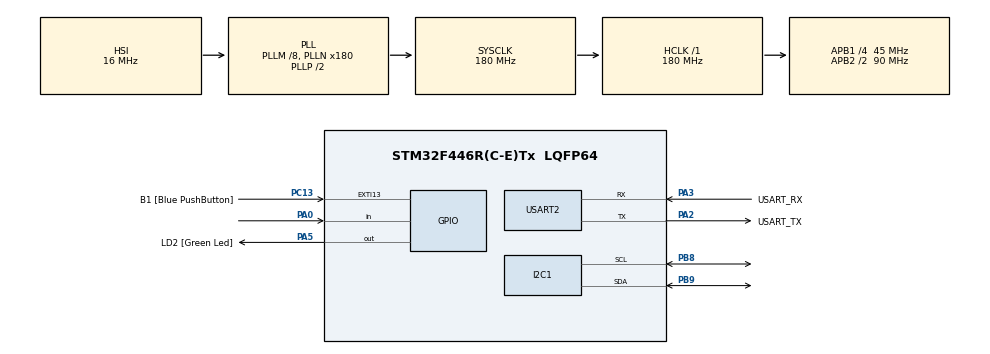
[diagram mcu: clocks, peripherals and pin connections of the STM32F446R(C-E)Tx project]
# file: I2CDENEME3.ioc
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Mcu.Family=STM32F4
Mcu.Name=STM32F446R(C-E)Tx
Mcu.Package=LQFP64
NVIC.PriorityGroup=NVIC_PRIORITYGROUP_0
PA0-WKUP.Signal=GPIO_Input
PA13.GPIO_Label=TMS
PA13.Mode=Serial_Wire
PA13.Signal=SYS_JTMS-SWDIO
PA14.GPIO_Label=TCK
PA14.Mode=Serial_Wire
PA14.Signal=SYS_JTCK-SWCLK
PA2.GPIO_Label=USART_TX
PA2.Mode=Asynchronous
PA2.Signal=USART2_TX
PA3.GPIO_Label=USART_RX
PA3.Mode=Asynchronous
PA3.Signal=USART2_RX
PA5.GPIO_Label=LD2 [Green Led]
PA5.Signal=GPIO_Output
PB3.GPIO_Label=SWO
PB3.Signal=SYS_JTDO-SWO
PB8.Mode=I2C
PB8.Signal=I2C1_SCL
PB9.Mode=I2C
PB9.Signal=I2C1_SDA
PC13.GPIO_Label=B1 [Blue PushButton]
PC13.GPIO_ModeDefaultEXTI=GPIO_MODE_IT_FALLING
PC13.Signal=GPXTI13
PC14-OSC32_IN.Mode=LSE-External-Oscillator
PC14-OSC32_IN.Signal=RCC_OSC32_IN
PC15-OSC32_OUT.Mode=LSE-External-Oscillator
PC15-OSC32_OUT.Signal=RCC_OSC32_OUT
PH0-OSC_IN.Mode=HSE-External-Oscillator
PH0-OSC_IN.Signal=RCC_OSC_IN
PH1-OSC_OUT.Mode=HSE-External-Oscillator
PH1-OSC_OUT.Signal=RCC_OSC_OUT
ProjectManager.HeapSize=0x200
ProjectManager.StackSize=0x400
ProjectManager.TargetToolchain=STM32CubeIDE
RCC.48MHZClocksFreq_Value=84000000
RCC.AHBFreq_Value=180000000
RCC.APB1CLKDivider=RCC_HCLK_DIV4
RCC.APB1Freq_Value=45000000
RCC.APB1TimFreq_Value=90000000
RCC.APB2CLKDivider=RCC_HCLK_DIV2
RCC.APB2Freq_Value=90000000
RCC.APB2TimFreq_Value=180000000
RCC.CortexFreq_Value=180000000
RCC.FLatency-AdvancedSettings=FLASH_LATENCY_5
RCC.HCLKFreq_Value=180000000
RCC.HSE_VALUE=8000000
RCC.HSI_VALUE=16000000
RCC.PLLM=8
RCC.PLLN=180
RCC.SYSCLKFreq_VALUE=180000000
RCC.SYSCLKSource=RCC_SYSCLKSOURCE_PLLCLK
RCC.USBFreq_Value=180000000
RCC.VCOOutputFreq_Value=360000000
USART2.VirtualMode=VM_ASYNC
board=NUCLEO-F446RE

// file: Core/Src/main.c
/* USER CODE BEGIN Header */
/**
  ******************************************************************************
  * @file           : main.c
  * @brief          : Main program body
  ******************************************************************************
  * @attention
  *
  * Copyright (c) 2026 STMicroelectronics.
  * All rights reserved.
  *
  * This software is licensed under terms that can be found in the LICENSE file
  * in the root directory of this software component.
  * If no LICENSE file comes with this software, it is provided AS-IS.
  *
  ******************************************************************************
  */
/* USER CODE END Header */
#include "main.h"
#include "i2c.h"
#include "usart.h"
#include "gpio.h"

/* USER CODE BEGIN Includes */
#include "tf02_continuous_fast.h"
#include <stdarg.h>
#include <stdio.h>
#include <string.h>
#include <stdint.h>
/* USER CODE END Includes */

/* USER CODE BEGIN PD */
#define TFMINI_ADDR_7BIT          0x10u
#define TFMINI_FRAME_LEN          9u
#define TFMINI_I2C_TIMEOUT_MS     5u
/* USER CODE END PD */

void SystemClock_Config(void);
/* USER CODE BEGIN PFP */
static void UART_Printf(const char *fmt, ...);
static uint8_t TF_Checksum8(const uint8_t *data, uint8_t len);
static int TF_ReadFrameCm(uint8_t frame[TFMINI_FRAME_LEN]);
static void Run_TFMini_I2C_MaxRate_Test_1s(void);
/* USER CODE END PFP */

/* USER CODE BEGIN 0 */
static const uint8_t TF_CMD_SET_1000HZ[6] = {0x5A, 0x06, 0x03, 0xE8, 0x03, 0x4E};
static const uint8_t TF_CMD_GET_FRAME_CM[5] = {0x5A, 0x05, 0x00, 0x01, 0x60};

static void UART_Printf(const char *fmt, ...)
{
  char buffer[256];
  va_list args;
  va_start(args, fmt);
  vsnprintf(buffer, sizeof(buffer), fmt, args);
  va_end(args);
  HAL_UART_Transmit(&huart2, (uint8_t *)buffer, (uint16_t)strlen(buffer), HAL_MAX_DELAY);
}

static uint8_t TF_Checksum8(const uint8_t *data, uint8_t len)
{
  uint16_t sum = 0;
  for (uint8_t i = 0; i < len; i++) {
    sum += data[i];
  }
  return (uint8_t)(sum & 0xFFu);
}

static int TF_ReadFrameCm(uint8_t frame[TFMINI_FRAME_LEN])
{
  const uint16_t addr = (TFMINI_ADDR_7BIT << 1);

  if (HAL_I2C_Master_Transmit(&hi2c1, addr, (uint8_t *)TF_CMD_GET_FRAME_CM, sizeof(TF_CMD_GET_FRAME_CM), TFMINI_I2C_TIMEOUT_MS) != HAL_OK) {
    return -1;
  }

  if (HAL_I2C_Master_Receive(&hi2c1, addr, frame, TFMINI_FRAME_LEN, TFMINI_I2C_TIMEOUT_MS) != HAL_OK) {
    return -2;
  }

  if ((frame[0] != 0x59u) || (frame[1] != 0x59u)) {
    return -3;
  }

  if (TF_Checksum8(frame, 8) != frame[8]) {
    return -4;
  }

  return 0;
}

static void Run_TFMini_I2C_MaxRate_Test_1s(void)
{
  const uint16_t addr = (TFMINI_ADDR_7BIT << 1);
  uint8_t frame[TFMINI_FRAME_LEN];
  uint32_t t0 = 0;
  uint32_t ok_count = 0;
  uint32_t err_count = 0;
  uint16_t last_distance_cm = 0;
  uint16_t min_distance_cm = 0xFFFFu;
  uint16_t max_distance_cm = 0;
  uint16_t last_strength = 0;
  uint16_t min_strength = 0xFFFFu;
  uint16_t max_strength = 0;

  UART_Printf("\r\n=== TFmini Plus I2C hiz testi (1 saniye) ===\r\n");

  if (HAL_I2C_IsDeviceReady(&hi2c1, addr, 3, 100) != HAL_OK) {
    UART_Printf("Sensor bulunamadi (0x10). Kablolamayi kontrol et.\r\n");
    return;
  }

  if (HAL_I2C_Master_Transmit(&hi2c1, addr, (uint8_t *)TF_CMD_SET_1000HZ, sizeof(TF_CMD_SET_1000HZ), 50) == HAL_OK) {
    HAL_Delay(120);
    UART_Printf("Frame rate 1000Hz komutu gonderildi.\r\n");
  } else {
    UART_Printf("1000Hz komutu gonderilemedi, mevcut ayarla devam.\r\n");
  }

  t0 = HAL_GetTick();
  while ((HAL_GetTick() - t0) < 1000u) {
    if (TF_ReadFrameCm(frame) == 0) {
      uint16_t distance = (uint16_t)frame[2] | ((uint16_t)frame[3] << 8);
      uint16_t strength = (uint16_t)frame[4] | ((uint16_t)frame[5] << 8);
      ok_count++;
      last_distance_cm = distance;
      last_strength = strength;
      if (distance < min_distance_cm) {
        min_distance_cm = distance;
      }
      if (distance > max_distance_cm) {
        max_distance_cm = distance;
      }
      if (strength < min_strength) {
        min_strength = strength;
      }
      if (strength > max_strength) {
        max_strength = strength;
      }
    } else {
      err_count++;
    }
  }

  UART_Printf("=== TEST BITTI ===\r\n");
  UART_Printf("1 saniyede basarili olcum: %lu\r\n", (unsigned long)ok_count);
  UART_Printf("1 saniyede hata: %lu\r\n", (unsigned long)err_count);
  UART_Printf("Son mesafe: %u cm\r\n", last_distance_cm);
  if (ok_count > 0u) {
    UART_Printf("Min/Max mesafe: %u / %u cm\r\n", min_distance_cm, max_distance_cm);
    UART_Printf("Sinyal gucu (Strength): min=%u max=%u son=%u\r\n", min_strength, max_strength, last_strength);
    if (last_distance_cm == 0u && max_strength < 100u) {
      UART_Printf("(Strength<100 -> sensor mesafe=0 yapar. Hedefi 20cm-2m arasi, beyaz yuzey dene.)\r\n");
    } else if (last_distance_cm == 0u && min_strength == 65535u) {
      UART_Printf("(Asiri aydinlik/overexposed -> mesafe 0. Irigi azalt.)\r\n");
    }
  }
}
/* USER CODE END 0 */

int main(void)
{

  /* MCU Configuration--------------------------------------------------------*/

  /* Reset of all peripherals, Initializes the Flash interface and the Systick. */
  HAL_Init();

  /* Configure the system clock */
  SystemClock_Config();

  /* Initialize all configured peripherals */
  MX_GPIO_Init();
  MX_USART2_UART_Init();

  TF02_I2C1_BusRecover();  /* I2C oncesi bus recovery */
  MX_I2C1_Init();

  /* USER CODE BEGIN 2 */
  TF02_Run_Continuous_Fast();  /* sonsuz dongu burada, geri donmez */
  /* USER CODE END 2 */

  /* Infinite loop */
  while (1)
  {

  }
}

void SystemClock_Config(void)
{
  RCC_OscInitTypeDef RCC_OscInitStruct = {0};
  RCC_ClkInitTypeDef RCC_ClkInitStruct = {0};

  /** Configure the main internal regulator output voltage
  */
  __HAL_RCC_PWR_CLK_ENABLE();
  __HAL_PWR_VOLTAGESCALING_CONFIG(PWR_REGULATOR_VOLTAGE_SCALE1);

  /** Initializes the RCC Oscillators according to the specified parameters
  * in the RCC_OscInitStruct structure.
  */
  RCC_OscInitStruct.OscillatorType = RCC_OSCILLATORTYPE_HSI;
  RCC_OscInitStruct.HSIState = RCC_HSI_ON;
  RCC_OscInitStruct.HSICalibrationValue = RCC_HSICALIBRATION_DEFAULT;
  RCC_OscInitStruct.PLL.PLLState = RCC_PLL_ON;
  RCC_OscInitStruct.PLL.PLLSource = RCC_PLLSOURCE_HSI;
  RCC_OscInitStruct.PLL.PLLM = 8;
  RCC_OscInitStruct.PLL.PLLN = 180;
  RCC_OscInitStruct.PLL.PLLP = RCC_PLLP_DIV2;
  RCC_OscInitStruct.PLL.PLLQ = 2;
  RCC_OscInitStruct.PLL.PLLR = 2;
  if (HAL_RCC_OscConfig(&RCC_OscInitStruct) != HAL_OK)
  {
    Error_Handler();
  }

  /** Activate the Over-Drive mode
  */
  if (HAL_PWREx_EnableOverDrive() != HAL_OK)
  {
    Error_Handler();
  }

  /** Initializes the CPU, AHB and APB buses clocks
  */
  RCC_ClkInitStruct.ClockType = RCC_CLOCKTYPE_HCLK|RCC_CLOCKTYPE_SYSCLK
                              |RCC_CLOCKTYPE_PCLK1|RCC_CLOCKTYPE_PCLK2;
  RCC_ClkInitStruct.SYSCLKSource = RCC_SYSCLKSOURCE_PLLCLK;
  RCC_ClkInitStruct.AHBCLKDivider = RCC_SYSCLK_DIV1;
  RCC_ClkInitStruct.APB1CLKDivider = RCC_HCLK_DIV4;
  RCC_ClkInitStruct.APB2CLKDivider = RCC_HCLK_DIV2;

  if (HAL_RCC_ClockConfig(&RCC_ClkInitStruct, FLASH_LATENCY_5) != HAL_OK)
  {
    Error_Handler();
  }
}

void Error_Handler(void)
{
  __disable_irq();
  while (1)
  {
  }
}
